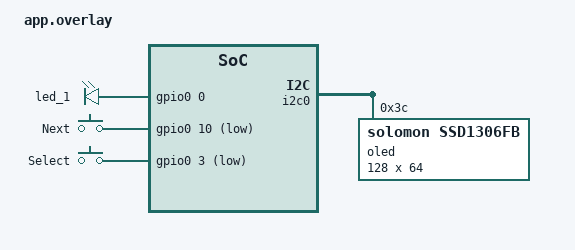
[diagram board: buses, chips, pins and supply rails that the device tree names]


/{
	aliases{
		led0=&led_1;
		sw0=&button_next;
		sw1=&button_select;
	};
	leds{
		compatible = "gpio-leds";
		led_1:led_1{
			gpios=<&gpio0 0 GPIO_ACTIVE_HIGH>;
		};
	};
	buttons{
		compatible = "gpio-keys";
		button_next: button_next{
			gpios=<&gpio0 10 (GPIO_ACTIVE_LOW | GPIO_PULL_UP)>;
			label = "Next";
		};
		button_select: button_select{
			gpios=<&gpio0 3 (GPIO_ACTIVE_LOW | GPIO_PULL_UP)>;
			label = "Select";
		};
	};
};




&i2c0{
	compatible = "espressif,esp32-i2c";
	pinctrl-0 = <&i2c0_default>;
	pinctrl-names = "default";
	status ="okay";
	oled: ssd1306@3c{
		compatible= "solomon,ssd1306fb";

		reg=<0x3c>;
		segment-offset = <0>;
		page-offset = <0>;
		display-offset = <0>;
		multiplex-ratio = <63>;
		prechargep = <0x22>;
		width = <128>;
		height = <64>;
	};

};

&pinctrl{
	i2c0_default: i2c0_default {
		group1 {
			pinmux = <I2C0_SDA_GPIO1>,
				 <I2C0_SCL_GPIO2>;
			bias-pull-up;
			drive-open-drain;
			output-high;
		};
	};
};
